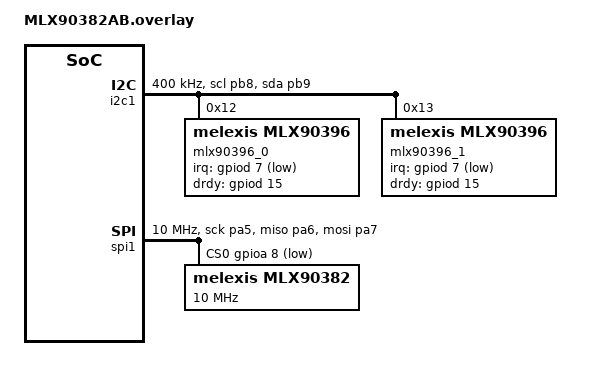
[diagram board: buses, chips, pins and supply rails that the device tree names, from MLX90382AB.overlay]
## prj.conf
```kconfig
# Copyright (c) 2021 Nordic Semiconductor ASA
# SPDX-License-Identifier: Apache-2.0
#
# This file contains selected Kconfig options for the application.

CONFIG_SHELL=y

CONFIG_SERIAL=y
CONFIG_CONSOLE=y
CONFIG_UART_CONSOLE=y
CONFIG_STDOUT_CONSOLE=y
CONFIG_UART_LINE_CTRL=y

CONFIG_SPI=y

CONFIG_I2C=y
CONFIG_I2C_SHELL=y

CONFIG_SENSOR=y
CONFIG_SENSOR_SHELL=y
CONFIG_SENSOR_INFO=y

# CONFIG_LOG=y
# CONFIG_LOG_DEFAULT_LEVEL=3
# CONFIG_LOG_MODE_DEFERRED=y
# CONFIG_LOG_BUFFER_SIZE=32768
```

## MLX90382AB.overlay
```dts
/*
 * Copyright (c) 2021 Nordic Semiconductor ASA
 *
 * SPDX-License-Identifier: Apache-2.0
 */

/ {
	aliases {
		magn0    = &mlx90396_0;
		magn1    = &mlx90396_1;
		encoder0 = &mlx90382;
	};
};

&i2c1 {
	pinctrl-0 = <&i2c1_scl_pb8 &i2c1_sda_pb9>;
	pinctrl-names = "default";
	status = "okay";
	clock-frequency = <400000>;

	mlx90396_0: mlx90396@12 {
		compatible = "melexis,mlx90396";
		reg = <0x12>;
		
		irq-gpios = <&gpiod 7 GPIO_ACTIVE_LOW>;
		drdy-gpios = <&gpiod 15 GPIO_ACTIVE_HIGH>;
		status = "okay";
	};

	mlx90396_1: mlx90396@13 {
		compatible = "melexis,mlx90396";
		reg = <0x13>;
		
		irq-gpios = <&gpiod 7 GPIO_ACTIVE_LOW>;
		drdy-gpios = <&gpiod 15 GPIO_ACTIVE_HIGH>;
		status = "okay";
	};	
};

&spi1 {
	pinctrl-0 = <&spi1_sck_pa5 &spi1_miso_pa6 &spi1_mosi_pa7>;
	pinctrl-names = "default";
	status = "okay";

	/*
	 * cs-gpios needs to be populated as per the schematics
	 * mlx90382 - CS#0
	 */
	cs-gpios = <&gpioa 8 GPIO_ACTIVE_LOW>;
	
	clock-frequency = <DT_FREQ_M(10)>;

	mlx90382: mlx90382@0 {
		compatible = "melexis,mlx90382";
		reg = <0>;
		spi-cpol;
		spi-max-frequency = <DT_FREQ_M(10)>;
		status = "okay";
	};
};
```

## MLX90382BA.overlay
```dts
/*
 * Copyright (c) 2021 Nordic Semiconductor ASA
 *
 * SPDX-License-Identifier: Apache-2.0
 */

/ {
	aliases {
/*		cs0  = &cs0; */
		encoder0 = &mlx90382;
	};

/*
	cs_pins {
		compatible = "gpio-leds";

		cs0: cs_0 {
			gpios = <&gpioa 8 GPIO_ACTIVE_LOW>;
		};
	};	
*/	
};

&spi1 {
	pinctrl-0 = <&spi1_sck_pa5 &spi1_miso_pa6 &spi1_mosi_pa7>;
	pinctrl-names = "default";
	status = "okay";

	/*
	 * cs-gpios needs to be populated as per the schematics
	 * mlx90382 - CS#0
	 */

	cs-gpios = <&gpioa 8 GPIO_ACTIVE_LOW>;

	clock-frequency = <DT_FREQ_M(10)>;

	mlx90382: mlx90382@0 {
		compatible = "melexis,mlx90382";
		reg = <0>;
		spi-cpol;
		spi-cpha;
		spi-max-frequency = <DT_FREQ_M(10)>;
		status = "okay";
	};
};
```

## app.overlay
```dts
/*
 * Copyright (c) 2021 Nordic Semiconductor ASA
 *
 * SPDX-License-Identifier: Apache-2.0
 */

/ {
	aliases {
		magn0    = &mlx90396_0;
		magn1    = &mlx90396_1;
		encoder0 = &mlx90382;
	};
};

&i2c1 {
	pinctrl-0 = <&i2c1_scl_pb8 &i2c1_sda_pb9>;
	pinctrl-names = "default";
	status = "okay";
	clock-frequency = <400000>;

	mlx90396_0: mlx90396@12 {
		compatible = "melexis,mlx90396";
		reg = <0x12>;
		
		irq-gpios = <&gpiod 7 GPIO_ACTIVE_LOW>;
		drdy-gpios = <&gpiod 15 GPIO_ACTIVE_HIGH>;
		status = "okay";
	};

	mlx90396_1: mlx90396@13 {
		compatible = "melexis,mlx90396";
		reg = <0x13>;
		
		irq-gpios = <&gpiod 7 GPIO_ACTIVE_LOW>;
		drdy-gpios = <&gpiod 15 GPIO_ACTIVE_HIGH>;
		status = "okay";
	};	
};

&spi1 {
	pinctrl-0 = <&spi1_sck_pa5 &spi1_miso_pa6 &spi1_mosi_pa7>;
	pinctrl-names = "default";
	status = "okay";

	/*
	 * cs-gpios needs to be populated as per the schematics
	 * mlx90382 - CS#0
	 */
	cs-gpios = <&gpioa 8 GPIO_ACTIVE_LOW>;
	
	clock-frequency = <DT_FREQ_M(10)>;

	mlx90382: mlx90382@0 {
		compatible = "melexis,mlx90382";
		reg = <0>;
		spi-cpol;
		spi-cpha;
		spi-max-frequency = <DT_FREQ_M(10)>;
		status = "okay";
	};
};
```

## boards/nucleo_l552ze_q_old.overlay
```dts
/* SPDX-License-Identifier: Apache-2.0 */

/ {
	aliases {
		led0 = &led0;
	};

	leds {
		compatible = "gpio-leds";

		led0: led_0 {
			gpios = <&gpiob 0 GPIO_ACTIVE_HIGH>;
			label = "Green LED 0";
		};
	};
};

&gpiob {
	status = "okay";
};
```

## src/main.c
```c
/*
 * Copyright (c) 2016 Intel Corporation
 *
 * SPDX-License-Identifier: Apache-2.0
 */

#include <stdio.h>
#include <zephyr/kernel.h>
#include <zephyr/drivers/gpio.h>

#include <zephyr/sys/printk.h>
#include <zephyr/drivers/uart.h>

#include <zephyr/drivers/sensor.h>
#include <zephyr/shell/shell.h>

#include <zephyr/drivers/sensor/mlx90382.h>

/*
 * A build error on this line means your board is unsupported.
 * See the sample documentation for information on how to fix this.
 */
static const struct device *const encoder = DEVICE_DT_GET(DT_ALIAS(encoder0));

enum CMD
{
    RT_SENSOR_CTRL_USER_CMD_SOFT_RESET = 0x101,
    RT_SENSOR_CTRL_USER_CMD_INFO,
    RT_SENSOR_CTRL_USER_CMD_LIN_PHASE,
    RT_SENSOR_CTRL_USER_CMD_DRIFTC_PHASE,
    RT_SENSOR_CTRL_USER_CMD_SC_PHASE,
    RT_SENSOR_CTRL_USER_CMD_SPEED,
    RT_SENSOR_CTRL_USER_CMD_TEMP,
    RT_SENSOR_CTRL_USER_CMD_GET_ZEROPOSITION,
    RT_SENSOR_CTRL_USER_CMD_SET_ZEROPOSITION,
    RT_SENSOR_CTRL_USER_CMD_SET_SENSING_MODE,   //266
    RT_SENSOR_CTRL_USER_CMD_SET_GPIO_IF,    //267
    RT_SENSOR_CTRL_USER_CMD_SET_DE_SR,  //268
    RT_SENSOR_CTRL_USER_CMD_SET_DE_DIE, //269
    RT_SENSOR_CTRL_USER_CMD_SET_FADDR0, //270
    RT_SENSOR_CTRL_USER_CMD_SET_FADDR1, //271
    RT_SENSOR_CTRL_USER_CMD_SET_FADDR2, //272
    RT_SENSOR_CTRL_USER_CMD_SET_FADDR3, //273
    RT_SENSOR_CTRL_USER_CMD_SET_FRFS,   //274
    RT_SENSOR_CTRL_USER_CMD_SET_FRFSEN, //275
    RT_SENSOR_CTRL_USER_CMD_SET_FRCRCEN,//276
    RT_SENSOR_CTRL_USER_CMD_SET_FRINV,  //277
    RT_SENSOR_CTRL_USER_CMD_READ_NVRAM,
    RT_SENSOR_CTRL_USER_CMD_SET_SC_X1 = 0x222,
    RT_SENSOR_CTRL_USER_CMD_SET_SC_X2 = 0x224,
    RT_SENSOR_CTRL_USER_CMD_SET_SC_Y1 = 0x226,
    RT_SENSOR_CTRL_USER_CMD_SET_SC_Y2 = 0x228,
    RT_SENSOR_CTRL_USER_CMD_SET_SC_YE = 0x22A,
    RT_SENSOR_CTRL_USER_CMD_SET_SC_HL = 0x22C,
};

uint16_t sample_freq = 100;
static bool sample_on = false;

static int measurement_on(const struct shell *shell, size_t argc, char *argv[])
{
	printk("measurement on\n");
	sample_on = true;
 
    return 0;
}

static int measurement_off(const struct shell *shell, size_t argc, char *argv[])
{
	printk("measurement off\n");
	sample_on = false;

    return 0;
}

int8_t mlx90382_ops_ctrl_fn(const struct shell *shell, size_t argc, char *argv[])
{
    int8_t result = 0;

	int32_t cmd = -1;

	cmd = strtol(argv[1], NULL, 0);
    uint16_t args = strtol(argv[2], NULL, 0);

	printk("mlx90382 ops ctrl is %d args = %d\r\n", cmd, args);
	
	switch (cmd) 
    {
    case RT_SENSOR_CTRL_USER_CMD_INFO:
        result = mlx90382_get_info(encoder);
        break;
    case RT_SENSOR_CTRL_USER_CMD_LIN_PHASE:
        // result = mlx90382_get_lin_phase(mlx_dev, (float *)args);
        break;
    case RT_SENSOR_CTRL_USER_CMD_DRIFTC_PHASE:
        // result = mlx90382_get_driftc_phase(mlx_dev, (float *)args);
        break;
    case RT_SENSOR_CTRL_USER_CMD_SC_PHASE:
        // result = mlx90382_get_sc_phase(mlx_dev, (float *)args);
        break;
    case RT_SENSOR_CTRL_USER_CMD_SPEED:
        // result = mlx90382_get_speed(mlx_dev, (float *)args);
        break;
    case RT_SENSOR_CTRL_USER_CMD_TEMP:
        // result = mlx90382_get_temp(mlx_dev, (float *)args);
        break;
    case RT_SENSOR_CTRL_USER_CMD_SOFT_RESET:
        result = mlx90382_soft_reset(encoder);
        break;
    case RT_SENSOR_CTRL_USER_CMD_GET_ZEROPOSITION:
        result = mlx90382_get_zero_position(encoder, &args);
        break;
    case RT_SENSOR_CTRL_USER_CMD_SET_ZEROPOSITION:
        result = mlx90382_set_zero_position(encoder, args);
        break;
    case RT_SENSOR_CTRL_USER_CMD_SET_SENSING_MODE:
        result = mlx90382_set_sensing_mode(encoder, args);
        break;
    case RT_SENSOR_CTRL_USER_CMD_SET_GPIO_IF:
        result = mlx90382_set_gpio_if(encoder, args);
        break;        
    case RT_SENSOR_CTRL_USER_CMD_SET_DE_SR:
        result = mlx90382_shadow_register_monitor_onoff(encoder, args);
        break;
    case RT_SENSOR_CTRL_USER_CMD_SET_DE_DIE:
        // result = mlx90382_shadow_register_monitor_onoff(encoder, args);
        break;
    case RT_SENSOR_CTRL_USER_CMD_SET_FADDR0:
        result = mlx90382_set_faddr0(encoder, args);
        break;                            
    case RT_SENSOR_CTRL_USER_CMD_SET_FADDR1:
        result = mlx90382_set_faddr1(encoder, args);
        break;                                    
    case RT_SENSOR_CTRL_USER_CMD_SET_FADDR2:
        result = mlx90382_set_faddr2(encoder, args);
        break;                            
    case RT_SENSOR_CTRL_USER_CMD_SET_FADDR3:
        result = mlx90382_set_faddr3(encoder, args);
        break;                                            
    case RT_SENSOR_CTRL_USER_CMD_SET_FRFS:
        result = mlx90382_set_frfs(encoder, args);
        break;                                                    
    case RT_SENSOR_CTRL_USER_CMD_SET_FRFSEN:
        result = mlx90382_set_frfsen(encoder, args);
        break;
    case RT_SENSOR_CTRL_USER_CMD_SET_FRCRCEN:
        result = mlx90382_set_frcrcen(encoder, args);
        break;                                                            
    case RT_SENSOR_CTRL_USER_CMD_SET_FRINV:
        result = mlx90382_set_frinv(encoder, args);
        break;    
    case RT_SENSOR_CTRL_USER_CMD_READ_NVRAM:
        uint16_t nvram_data[NVRAM_SIZE_WORDS];

        result = mlx90382_read_nvram(encoder, nvram_data, NVRAM_SIZE_WORDS);
        
        printf("nvram:");
        for (int i = 0; i<NVRAM_SIZE_WORDS; i++)
        {
            printf("0x%x ", nvram_data[i]);
        }
        printf("\n");
        break;    
    case RT_SENSOR_CTRL_USER_CMD_SET_SC_X1:
        result = mlx90382_set_sc_x1(encoder, args);
        break;    
    case RT_SENSOR_CTRL_USER_CMD_SET_SC_X2:
        result = mlx90382_set_sc_x2(encoder, args);
        break;    
    case RT_SENSOR_CTRL_USER_CMD_SET_SC_Y1:
        result = mlx90382_set_sc_y1(encoder, args);
        break;    
    case RT_SENSOR_CTRL_USER_CMD_SET_SC_Y2:
        result = mlx90382_set_sc_y2(encoder, args);
        break;    
    case RT_SENSOR_CTRL_USER_CMD_SET_SC_YE:
        result = mlx90382_set_sc_ye(encoder, args);
        break;            
    case RT_SENSOR_CTRL_USER_CMD_SET_SC_HL:
        result = mlx90382_set_sc_hl(encoder, args);
        break;    

    default:
        printf("unknown MLX90382 CTRL CMD\r\n");
        return -1;
    }

    return result;
}

int mlx90382_set_sample_freq_fn(const struct shell *shell, size_t argc, char *argv[])
{
    int res = 0;

    sample_freq = atoi(argv[1]);
    printf("sample freq = %d\r\n", sample_freq);

    return res;
}

SHELL_STATIC_SUBCMD_SET_CREATE(
    mlx90382_measurement_onoff_cmds,
    SHELL_CMD_ARG(on, NULL, "start measurement\n", measurement_on, 1, 0),
    SHELL_CMD_ARG(off, NULL, "stop measurement\n", measurement_off, 1, 0),
    SHELL_SUBCMD_SET_END
    );

SHELL_CMD_REGISTER(mlx90382_measurement_onoff, &mlx90382_measurement_onoff_cmds, "Set mlx90382 measurement on/off", NULL);

SHELL_CMD_REGISTER(mlx90382_ops_ctrl, NULL, "Set mlx90382 operations control", mlx90382_ops_ctrl_fn);	
SHELL_CMD_REGISTER(mlx90382_set_sample_freq, NULL, "Set mlx90382 sample frequency", mlx90382_set_sample_freq_fn);	

int main(void)
{
	int ret;
	struct sensor_value value;

	float lin_phase = 0;
    float driftc_phase = 0;
    float sc_phase = 0;
    float speed = 0;
    float temp = 0;

	if (!device_is_ready(encoder)) 
	{
		printk("sensor: device is not ready.\n");
		return -1;
	}

	while (1) 
	{		
		if (sample_on) 
		{
			ret = sensor_sample_fetch(encoder);
			if (ret) 
			{
				printk("sensor_sample_fetch failed ret %d\n", ret);
				return 0;
			}

            ret = sensor_channel_get(encoder, SENSOR_CHAN_LIN_PHASE, &value);
			lin_phase = sensor_value_to_float(&value);

			ret = sensor_channel_get(encoder, SENSOR_CHAN_DRIFTC_PHASE, &value);
			driftc_phase = sensor_value_to_float(&value);

			ret = sensor_channel_get(encoder, SENSOR_CHAN_SC_PHASE, &value);
			sc_phase = sensor_value_to_float(&value);

			ret = sensor_channel_get(encoder, SENSOR_CHAN_DIE_TEMP, &value);
			temp = sensor_value_to_float(&value);
			// printk("die temperature = ( %f )\n", sensor_value_to_double(&value));

            printf("data:%.3f,%.3f,%.3f,%.3f,%.3f\n", lin_phase, driftc_phase, sc_phase, speed, temp);
		}

		k_msleep(sample_freq);
	}

	return 0;
}
```
